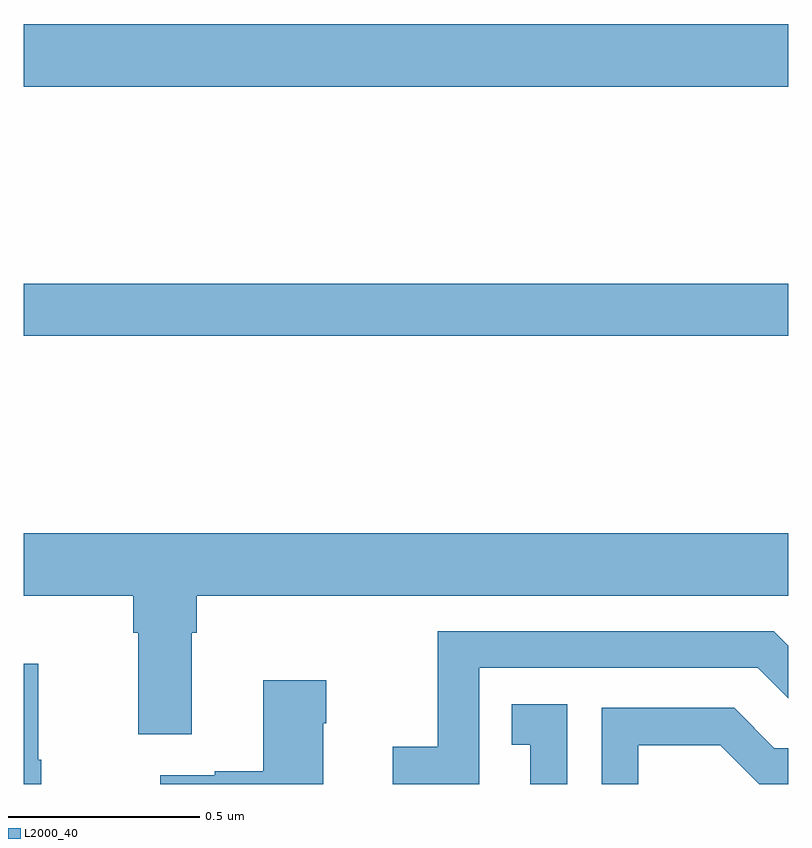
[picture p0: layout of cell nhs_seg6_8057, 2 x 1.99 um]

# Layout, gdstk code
import gdstk
lib = gdstk.Library(unit=1e-6, precision=1e-09)
def R(c, l, rs):  # rectangles x0, y0, x1, y1
    for r in rs: c.add(gdstk.rectangle(r[:2], r[2:], *l))
def P(c, l, *ps):  # polygons
    for p in ps: c.add(gdstk.Polygon(p, *l))
L2000_40 = (2000, 40)

nhs_seg6_8057 = lib.new_cell('nhs_seg6_8057')
R(nhs_seg6_8057, L2000_40, [(216,958.672,218,958.808), (216,959.324,218,959.488)])
P(nhs_seg6_8057, L2000_40, [(216.439,957.896),(216.452,957.896),(216.452,957.992),(218,957.992),(218,958.156),(216,958.156),(216,957.992),(216.287,957.992),(216.287,957.896),(216.299,957.896),(216.299,957.63),(216.439,957.63)],
  [(217.191,957.804),(217.92,957.804),(218,957.724),(218,957.862),(217.962,957.9),(217.083,957.9),(217.083,957.598),(216.965,957.598),(216.965,957.5),(217.191,957.5)],
  [(216.046,957.564),(216.038,957.564),(216.038,957.814),(216,957.814),(216,957.5),(216.046,957.5)],
  [(216.784,957.659),(216.792,957.659),(216.792,957.772),(216.626,957.772),(216.626,957.533),(216.5,957.533),(216.5,957.523),(216.357,957.523),(216.357,957.5),(216.784,957.5)],
  [(217.422,957.709),(217.276,957.709),(217.276,957.603),(217.325,957.603),(217.325,957.5),(217.422,957.5)],
  [(217.608,957.602),(217.822,957.602),(217.924,957.5),(218,957.5),(218,957.594),(217.963,957.594),(217.858,957.699),(217.512,957.699),(217.512,957.5),(217.608,957.5)])

lib.write_gds('nhs_seg6_8057.gds')
